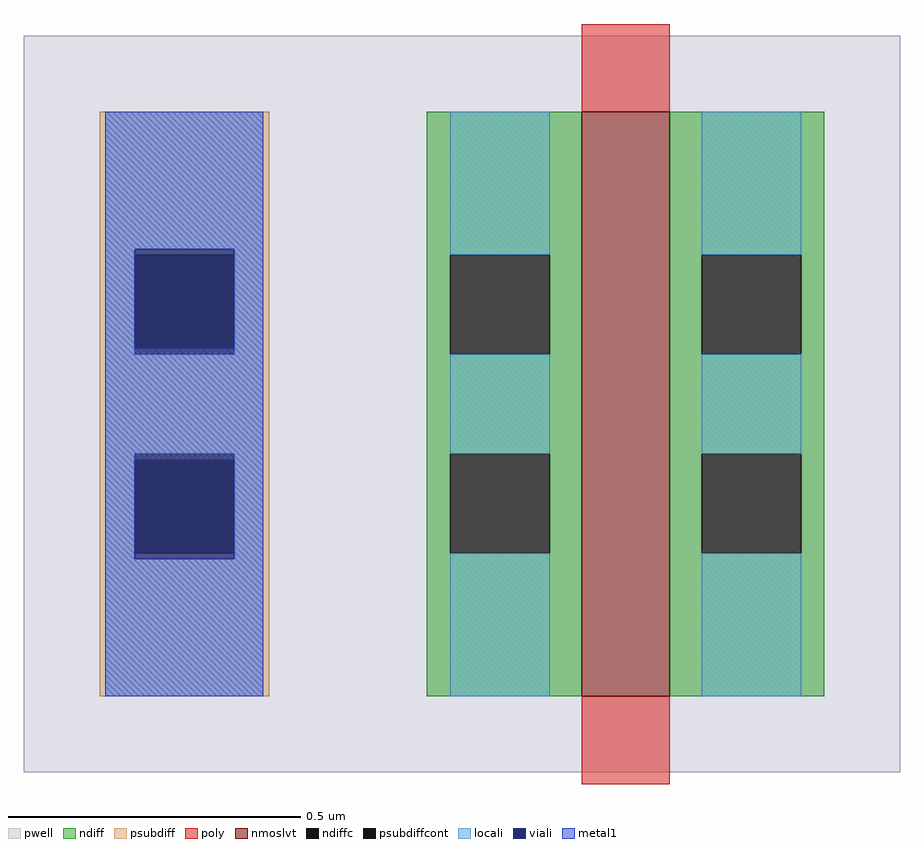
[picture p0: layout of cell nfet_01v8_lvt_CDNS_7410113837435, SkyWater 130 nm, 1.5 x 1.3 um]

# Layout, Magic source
magic
tech sky130A
magscale 1 2
<< pwell >>
rect -191 -26 109 226
<< nmoslvt >>
rect 0 0 30 200
<< ndiff >>
rect -53 151 0 200
rect -53 117 -45 151
rect -11 117 0 151
rect -53 83 0 117
rect -53 49 -45 83
rect -11 49 0 83
rect -53 0 0 49
rect 30 151 83 200
rect 30 117 41 151
rect 75 117 83 151
rect 30 83 83 117
rect 30 49 41 83
rect 75 49 83 83
rect 30 0 83 49
<< ndiffc >>
rect -45 117 -11 151
rect -45 49 -11 83
rect 41 117 75 151
rect 41 49 75 83
<< psubdiff >>
rect -165 151 -107 200
rect -165 117 -153 151
rect -119 117 -107 151
rect -165 83 -107 117
rect -165 49 -153 83
rect -119 49 -107 83
rect -165 0 -107 49
<< psubdiffcont >>
rect -153 117 -119 151
rect -153 49 -119 83
<< poly >>
rect 0 200 30 230
rect 0 -30 30 0
<< locali >>
rect -163 153 -109 200
rect -163 117 -153 153
rect -119 117 -109 153
rect -163 83 -109 117
rect -163 47 -153 83
rect -119 47 -109 83
rect -163 0 -109 47
rect -45 151 -11 200
rect -45 83 -11 117
rect -45 0 -11 49
rect 41 151 75 200
rect 41 83 75 117
rect 41 0 75 49
<< viali >>
rect -153 151 -119 153
rect -153 119 -119 151
rect -153 49 -119 81
rect -153 47 -119 49
<< metal1 >>
rect -163 153 -109 200
rect -163 119 -153 153
rect -119 119 -109 153
rect -163 81 -109 119
rect -163 47 -153 81
rect -119 47 -109 81
rect -163 0 -109 47
<< end >>
